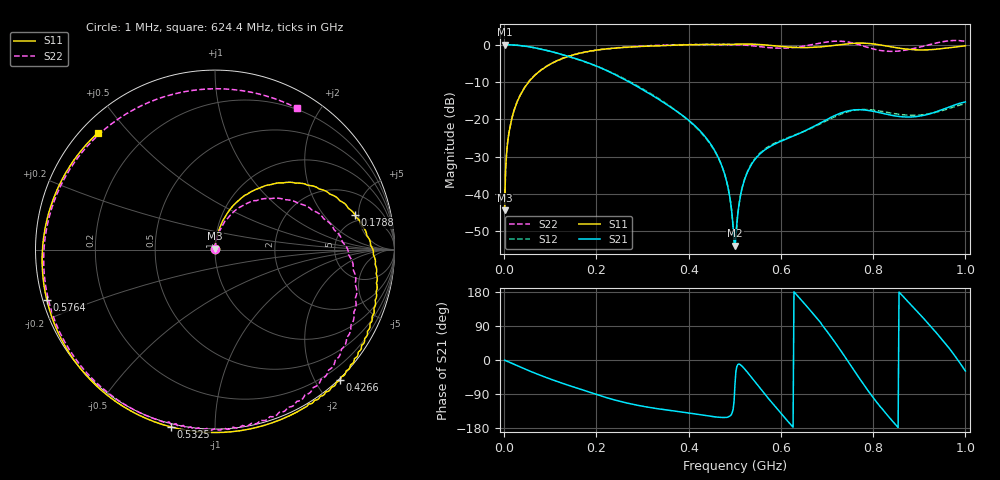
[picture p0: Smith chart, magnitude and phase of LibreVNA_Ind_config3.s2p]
# GHZ S RI R 50.000000000000
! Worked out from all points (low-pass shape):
!   501 points, 1 MHz to 1 GHz, reference 50 ohm
!   highest |S21| = 0.02 dB at 1 MHz (marker M1); lowest = -53.9 dB at 500.5 MHz (marker M2)
!   |S21| within 3 dB of the highest: start of sweep to 135 MHz
!   lowest |S11| = -44.4 dB at 1 MHz (marker M3), VSWR 1.01, Z = 50.1 + j0.597 ohm
!   |S11| at or under -10 dB: start of sweep to 53.21 MHz
!   |S22| runs from -44.0 to 1.1 dB; largest |S21 - S12| = 0.31
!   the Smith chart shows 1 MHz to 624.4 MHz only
!   S11 on the Smith chart (normalised r, x): 1 MHz: 1.00, +0.01; 178.8 MHz: 4.14, +4.49; 426.6 MHz: -0.02, -2.34; 532.5 MHz: -0.01, -0.78; 576.4 MHz: 0.01, -0.15; 624.4 MHz: 0.05, +0.41
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0.001  0.001 0.00595  1.002 -0.00769  0.9981 -0.0105  0.00259 0.00571
0.012988  0.0125 0.0785  0.9883 -0.1202  0.9875 -0.1201  0.0152 0.0782
0.038962  0.0807 0.2198  0.9018 -0.3419  0.9031 -0.3411  0.1041 0.2105
0.168832  0.7413 0.2316  0.1206 -0.5977  0.1218 -0.5939  0.7686 -0.1082
0.178822  0.7791 0.1929  0.0742 -0.5755  0.0774 -0.5716  0.7835 -0.1767
0.334666  0.8553 -0.4483  -0.1164 -0.1443  -0.1189 -0.1474  0.3685 -0.9059
0.426574  0.696 -0.7277  -0.0554 -0.0392  -0.0537 -0.0392  -0.0222 -1.006
0.474526  0.5751 -0.8331  -0.0189 -0.0102  -0.0184 -0.0108  -0.1989 -0.9848
0.5005  0.4953 -0.8826  0.000902 -0.0018  0.000894 -0.00177  -0.2948 -0.9577
0.502498  0.4544 -0.9061  0.00229 -0.00132  0.00234 -0.0013  -0.3471 -0.9391
0.532468  -0.2447 -0.9882  0.0173 -0.0145  0.0198 -0.0117  -0.906 -0.3566
0.576424  -0.9368 -0.2815  -0.0123 -0.0412  0.00177 -0.0442  -0.6142 0.6706
0.624376  -0.6539 0.6496  -0.0584 -0.00542  -0.048 -0.0352  0.4586 0.7867
0.668332  0.1373 0.9075  -0.0445 0.0644  -0.0752 0.0176  1.001 -0.0616
0.722278  0.9588 0.2408  0.0915 0.0714  -0.0146 0.1107  0.0417 -1.113
0.766234  0.7329 -0.7479  0.101 -0.0885  0.1141 0.0699  -0.9704 -0.288
0.798202  -0.0228 -1.026  -0.0139 -0.1275  0.128 -0.0365  -0.6978 0.5399
0.834166  -0.7382 -0.5917  -0.0998 -0.0568  0.0553 -0.1091  0.0577 0.8105
0.878122  -0.8223 0.2647  -0.0932 0.0526  -0.044 -0.1042  0.7898 0.3436
0.914086  -0.4141 0.7434  -0.0264 0.1112  -0.1018 -0.0561  0.8913 -0.3885
0.962038  0.3917 0.8133  0.1175 0.0835  -0.1251 0.058  0.0416 -1.121
1  0.9113 0.3139  0.1494 -0.0826  -0.0428 0.1565  -0.9372 -0.5811
